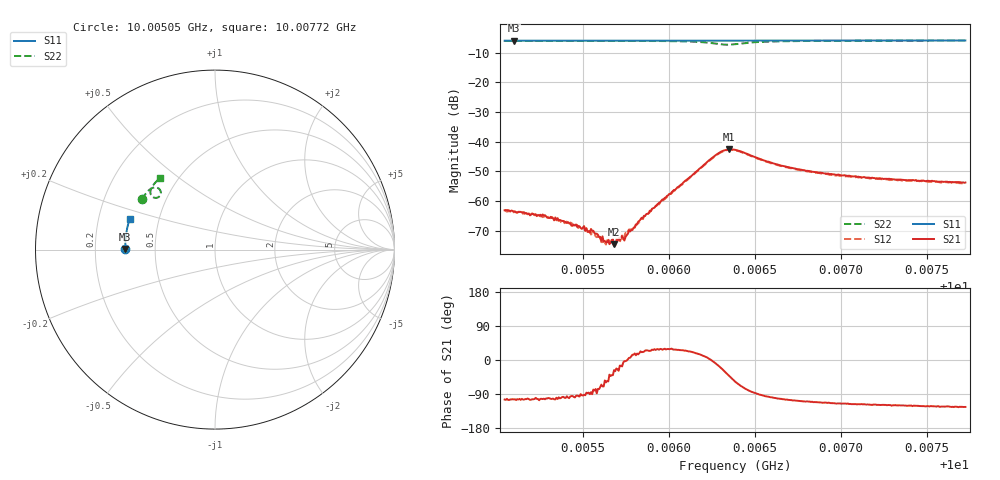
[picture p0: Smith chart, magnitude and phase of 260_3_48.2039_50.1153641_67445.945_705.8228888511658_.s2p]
#  HZ  S  RI  R  50.00
! Rohde & Schwarz Vector Network Analyzer
! Rohde-Schwarz,ZNB20-2Port,1311601062101988,3.16
! Created: UTC 3/20/2024, 11:47:44 AM
! freq[Hz]  re:S11  im:S11  re:S21  im:S21  re:S12  im:S12  re:S22  im:S22
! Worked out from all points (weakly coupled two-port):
!   401 points, 10.00505 GHz to 10.00772 GHz, reference 50 ohm
!   highest |S21| = -42.55 dB at 10.00635 GHz (marker M1); lowest = -74.6 dB at 10.00568 GHz (marker M2)
!   lowest |S11| = -6.0 dB at 10.0051 GHz (marker M3), VSWR 3.00, Z = 16.7 + j0.187 ohm
!   |S11| at or under -10 dB: nowhere
!   |S22| runs from -7.4 to -6.0 dB; largest |S21 - S12| = 0.00044
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1.0005046e10  -0.4998 0.000685  -0.000172 -0.00068  -0.000124 -0.000694  -0.4076 0.2806
1.0005099e10  -0.4997 0.0042  -0.000161 -0.00065  -0.0001 -0.000641  -0.4056 0.2838
1.0005267e10  -0.4999 0.015  -0.000135 -0.000581  -5.88e-05 -0.000534  -0.399 0.2938
1.0005327e10  -0.5 0.019  -0.000106 -0.000508  -6.72e-05 -0.000519  -0.3967 0.2973
1.0005495e10  -0.4997 0.0297  -1.86e-05 -0.00034  2.05e-05 -0.000351  -0.3893 0.3074
1.0005528e10  -0.4996 0.032  1.42e-05 -0.000302  5.7e-05 -0.000329  -0.3877 0.3095
1.0005562e10  -0.4996 0.0342  6.61e-05 -0.00031  3.31e-05 -0.000267  -0.3861 0.3114
1.0005622e10  -0.4994 0.0381  7.14e-05 -0.000195  9.89e-05 -0.000191  -0.3831 0.3151
1.0005655e10  -0.4994 0.0403  0.000147 -0.000118  0.000142 -0.00015  -0.3814 0.3172
1.0005675e10  -0.4994 0.0415  0.000176 -0.000148  0.000148 -0.000124  -0.3803 0.3185
1.0005682e10  -0.4992 0.0421  0.000167 -8.44e-05  0.00014 -0.000104  -0.3801 0.3189
1.0005749e10  -0.4989 0.0463  0.000249 -1.32e-05  0.000292 -3.97e-06  -0.3762 0.3231
1.0005836e10  -0.4986 0.0519  0.000455 0.000191  0.000434 0.000222  -0.3707 0.3288
1.0005943e10  -0.4981 0.059  0.000834 0.000426  0.000764 0.000437  -0.3622 0.3359
1.0006258e10  -0.4953 0.0793  0.00549 -0.000375  0.00538 -0.00012  -0.3066 0.3331
1.0006312e10  -0.4947 0.0824  0.00633 -0.00283  0.00632 -0.0025  -0.3023 0.3101
1.0006352e10  -0.4945 0.0848  0.00549 -0.00504  0.0056 -0.00465  -0.3132 0.2934
1.0006385e10  -0.4942 0.0867  0.00401 -0.00611  0.00427 -0.00577  -0.3282 0.2881
1.000662e10  -0.4925 0.1016  -0.000751 -0.00414  -0.000558 -0.00411  -0.3593 0.3285
1.0006834e10  -0.4898 0.1154  -0.00107 -0.00293  -0.000969 -0.00291  -0.3501 0.3506
1.0007283e10  -0.4833 0.1436  -0.00115 -0.00208  -0.00104 -0.002  -0.3274 0.3788
1.0007725e10  -0.4753 0.171  -0.00115 -0.0017  -0.00105 -0.00169  -0.3049 0.4001
